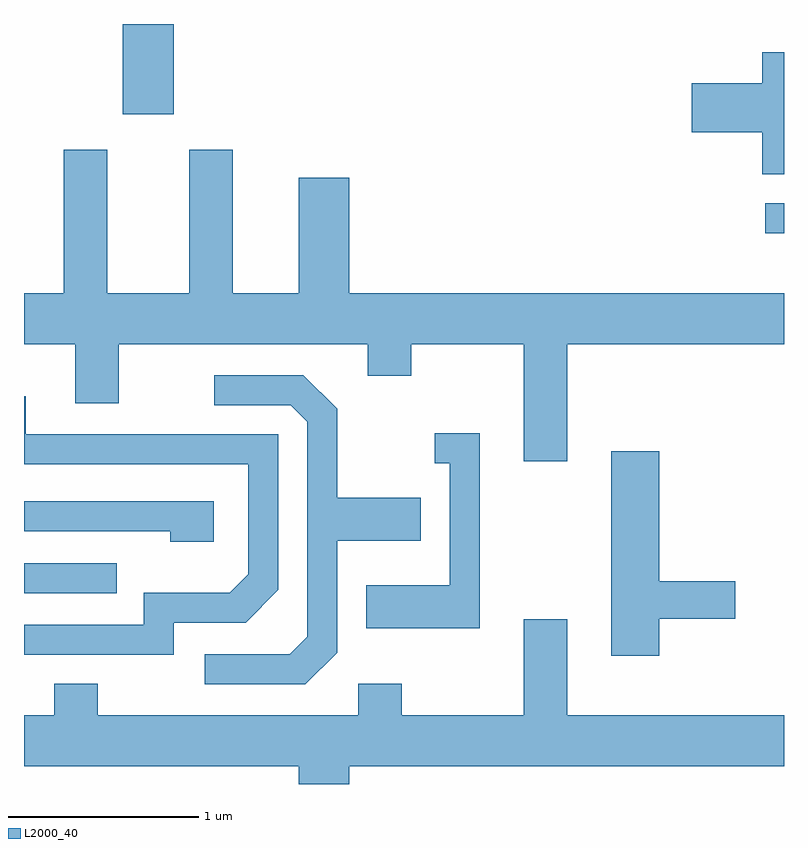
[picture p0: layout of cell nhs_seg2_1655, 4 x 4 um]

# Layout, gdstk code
import gdstk
lib = gdstk.Library(unit=1e-6, precision=1e-09)
def R(c, l, rs):  # rectangles x0, y0, x1, y1
    for r in rs: c.add(gdstk.rectangle(r[:2], r[2:], *l))
def P(c, l, *ps):  # polygons
    for p in ps: c.add(gdstk.Polygon(p, *l))
L2000_40 = (2000, 40)

nhs_seg2_1655 = lib.new_cell('nhs_seg2_1655')
R(nhs_seg2_1655, L2000_40, [(233.611,1024.806,234.098,1024.964), (237.513,1026.701,237.611,1026.859), (234.131,1027.326,234.399,1027.802)])
P(nhs_seg2_1655, L2000_40, [(237.611,1027.654),(237.496,1027.654),(237.496,1027.489),(237.126,1027.489),(237.126,1027.231),(237.496,1027.231),(237.496,1027.011),(237.611,1027.011)],
  [(235.056,1026.994),(235.056,1026.384),(234.709,1026.384),(234.709,1027.139),(234.481,1027.139),(234.481,1026.384),(234.049,1026.384),(234.049,1027.139),(233.821,1027.139),(233.821,1026.384),(233.611,1026.384),(233.611,1026.116),(233.881,1026.116),(233.881,1025.806),(234.109,1025.806),(234.109,1026.116),(235.421,1026.116),(235.421,1025.951),(235.649,1025.951),(235.649,1026.116),(236.241,1026.116),(236.241,1025.501),(236.469,1025.501),(236.469,1026.116),(237.611,1026.116),(237.611,1026.384),(235.324,1026.384),(235.324,1026.994)],
  [(235.259,1024.494),(235.259,1025.081),(235.699,1025.081),(235.699,1025.309),(235.259,1025.309),(235.259,1025.777),(235.082,1025.954),(234.613,1025.954),(234.613,1025.796),(235.014,1025.796),(235.101,1025.709),(235.101,1024.577),(235.009,1024.484),(234.563,1024.484),(234.563,1024.326),(235.092,1024.326)],
  [(234.399,1024.651),(234.777,1024.651),(234.949,1024.824),(234.949,1025.644),(233.619,1025.644),(233.619,1025.843),(233.611,1025.843),(233.611,1025.486),(234.791,1025.486),(234.791,1024.907),(234.694,1024.809),(234.241,1024.809),(234.241,1024.639),(233.611,1024.639),(233.611,1024.481),(234.399,1024.481)],
  [(236.009,1025.649),(235.773,1025.649),(235.773,1025.491),(235.851,1025.491),(235.851,1024.849),(235.411,1024.849),(235.411,1024.621),(236.009,1024.621)],
  [(236.954,1024.671),(237.354,1024.671),(237.354,1024.869),(236.954,1024.869),(236.954,1025.554),(236.701,1025.554),(236.701,1024.476),(236.954,1024.476)],
  [(234.609,1025.289),(233.611,1025.289),(233.611,1025.131),(234.381,1025.131),(234.381,1025.076),(234.609,1025.076)],
  [(235.324,1023.896),(237.611,1023.896),(237.611,1024.164),(236.469,1024.164),(236.469,1024.669),(236.241,1024.669),(236.241,1024.164),(235.599,1024.164),(235.599,1024.329),(235.371,1024.329),(235.371,1024.164),(233.999,1024.164),(233.999,1024.329),(233.771,1024.329),(233.771,1024.164),(233.611,1024.164),(233.611,1023.896),(235.056,1023.896),(235.056,1023.802),(235.324,1023.802)])

lib.write_gds('nhs_seg2_1655.gds')
